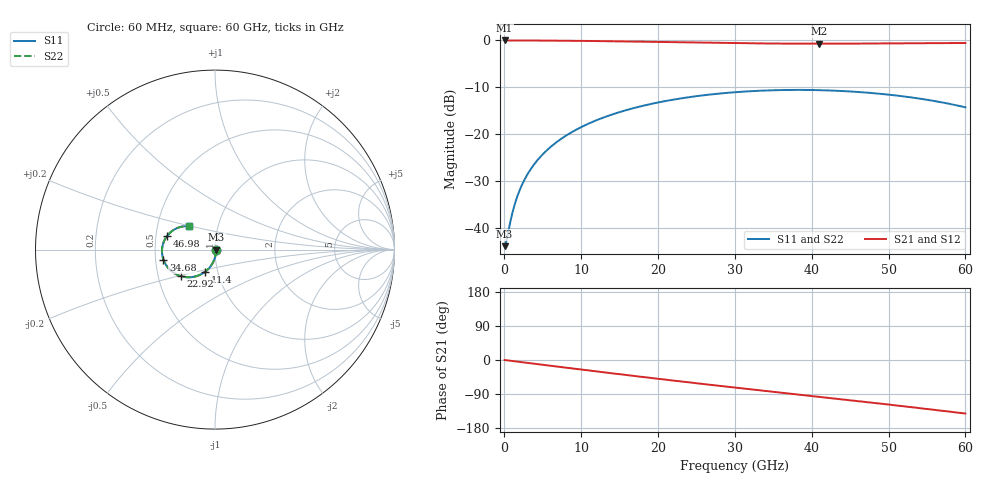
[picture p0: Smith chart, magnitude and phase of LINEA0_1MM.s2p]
! TOUCHSTONE file generated by CST MICROWAVE STUDIO
! Date and time: Tue Oct 13 10:02:14 2026
! Project name: LINEA0_1MM.cst
! Parameters = {GAP=0.00415; L=1; L1=0.02; L2=0.086; L3=0.066; NCELL=1; PITCH=0.18; START_POSITION=0.08; W1=0.003; W2=0.004; W3=0.009; WG=0.04985; gap_oxr=0.00125; linbo3_thickness=0.0002; mtx=0.002; oxiDinE=0.0014; w=0.15; ws=0.035}
! Header version: 2024
! Port assignment regex: !\s*Touchstone port\s*([0-9]+)\s*=\s*(CST MWS port|CST DES external port|CST DES block port)\s*(.+)\s* \(\"(.*)\"\)(\s*mode\s*([0-9]+))?.*
! Touchstone port assignment:
! Touchstone port 1 = CST MWS port 1 ("")
! Touchstone port 2 = CST MWS port 2 ("")
# GHz S MA R 50
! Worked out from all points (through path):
!   1000 points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, 60 MHz to 60 GHz, reference 50 ohm
!   highest |S21| = -0.07 dB at 60 MHz (marker M1); lowest = -0.8 dB at 40.98 GHz (marker M2)
!   group delay of S21, straight-line fit = 6.45 ps
!   lowest |S11| = -43.8 dB at 60 MHz (marker M3), VSWR 1.01, Z = 50.6 - j0.0756 ohm
!   |S11| at or under -10 dB: start of sweep to end of sweep
!   |S22| runs from -43.8 to -10.6 dB; largest |S21 - S12| = 1.7e-06
!   S11 on the Smith chart (normalised r, x): 60 MHz: 1.01, -0.00; 11.4 GHz: 0.87, -0.22; 22.92 GHz: 0.66, -0.21; 34.68 GHz: 0.55, -0.07; 46.98 GHz: 0.57, +0.10; 60 GHz: 0.73, +0.20
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0.06  0.006443 -6.7  0.9921 -0.2  0.9921 -0.2  0.006443 -6.7
0.36  0.00776 -35.3  0.9921 -0.9  0.9921 -0.9  0.007761 -35.3
1.08  0.01463 -66.6  0.992 -2.7  0.992 -2.7  0.01463 -66.6
1.68  0.02144 -76.5  0.9919 -4.2  0.9919 -4.2  0.02144 -76.5
2.46  0.0306 -83.6  0.9915 -6.2  0.9915 -6.2  0.0306 -83.6
3.36  0.04132 -88.9  0.991 -8.5  0.991 -8.5  0.04132 -88.9
4.62  0.05633 -94.2  0.9899 -11.7  0.9899 -11.7  0.05633 -94.2
6.12  0.07407 -99.3  0.9882 -15.4  0.9882 -15.4  0.07407 -99.3
7.92  0.09503 -104.5  0.9857 -20.0  0.9857 -20.0  0.09503 -104.5
10.08  0.1195 -110.4  0.9818 -25.4  0.9818 -25.4  0.1195 -110.4
11.4  0.134 -113.8  0.9791 -28.6  0.9791 -28.6  0.134 -113.8
15.36  0.1751 -123.6  0.9695 -38.4  0.9695 -38.4  0.1751 -123.6
20.04  0.2175 -134.8  0.9563 -49.6  0.9563 -49.6  0.2175 -134.8
22.92  0.2397 -141.6  0.9479 -56.4  0.9479 -56.4  0.2397 -141.6
30.06  0.2795 -158.3  0.9291 -72.9  0.9291 -72.9  0.2795 -158.3
34.68  0.2926 -168.9  0.9207 -83.2  0.9207 -83.2  0.2926 -168.9
40.02  0.2948 179.1  0.9165 -95.0  0.9165 -95.0  0.2948 179.1
40.98  0.2938 177.0  0.9164 -97.2  0.9164 -97.2  0.2938 177.0
46.98  0.2774 163.9  0.9197 -110.6  0.9197 -110.6  0.2774 163.9
50.04  0.2631 157.5  0.9232 -117.6  0.9232 -117.6  0.2631 157.5
54.78  0.2338 147.8  0.9286 -128.7  0.9286 -128.7  0.2338 147.8
60  0.1931 137.7  0.9312 -141.3  0.9312 -141.3  0.1931 137.7
